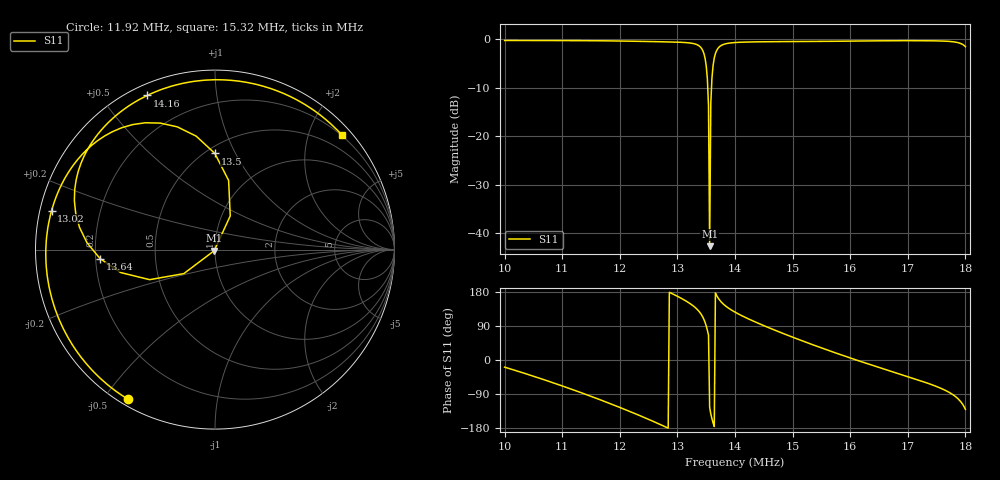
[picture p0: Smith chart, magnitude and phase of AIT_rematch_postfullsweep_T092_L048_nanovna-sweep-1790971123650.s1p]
! NanoVNA Web complex sweep
! Processing: original sample grid, no browser smoothing
# Hz S RI R 50
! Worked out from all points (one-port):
!   401 points, 10 MHz to 18 MHz, reference 50 ohm
!   lowest |S11| = -42.7 dB at 13.56 MHz (marker M1), VSWR 1.01, Z = 49.6 - j0.593 ohm
!   |S11| at or under -10 dB: 13.52672 MHz to 13.59214 MHz (65.42 kHz wide, 0.483 % of centre)
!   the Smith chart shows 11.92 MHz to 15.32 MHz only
!   S11 on the Smith chart (normalised r, x): 11.92 MHz: 0.02, -0.57; 13.02 MHz: 0.03, +0.12; 13.5 MHz: 0.55, +0.83; 13.64 MHz: 0.22, -0.04; 14.16 MHz: 0.05, +0.65; 15.32 MHz: 0.19, +2.60
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1e7  0.9234 -0.3149
1.1e7  0.3583 -0.9055
1.146e7  -0.0606 -0.9689
1.192e7  -0.4866 -0.8324
1.2e7  -0.5541 -0.7874
1.254e7  -0.889 -0.3365
1.3e7  -0.9171 0.1923
1.302e7  -0.9108 0.217
1.332e7  -0.6525 0.6082
1.344e7  -0.306 0.7049
1.35e7  -0.000852 0.536
1.352e7  0.0759 0.3851
1.356e7  -0.00417 -0.00598
1.36e7  -0.3642 -0.1675
1.362e7  -0.5254 -0.1279
1.364e7  -0.6404 -0.0502
1.374e7  -0.7815 0.3351
1.4e7  -0.55 0.7483
1.416e7  -0.378 0.8587
1.456e7  0.0513 0.9456
1.5e7  0.4719 0.8253
1.532e7  0.7091 0.6369
1.6e7  0.956 0.0914
1.648e7  0.9165 -0.309
1.7e7  0.7011 -0.6717
1.772e7  0.0739 -0.9512
1.788e7  -0.2153 -0.8984
1.8e7  -0.5424 -0.644
